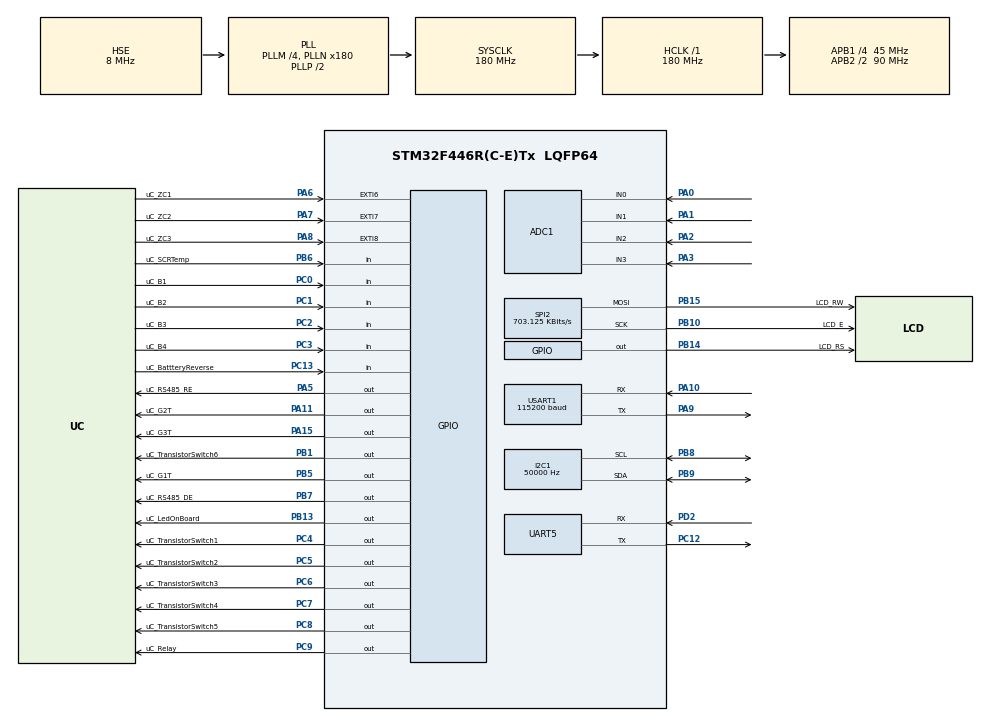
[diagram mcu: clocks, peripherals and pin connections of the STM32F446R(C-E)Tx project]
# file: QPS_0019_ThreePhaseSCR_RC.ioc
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ADC1.Channel-0\#ChannelRegularConversion=ADC_CHANNEL_0
ADC1.Channel-1\#ChannelRegularConversion=ADC_CHANNEL_1
ADC1.Channel-2\#ChannelRegularConversion=ADC_CHANNEL_2
ADC1.Channel-3\#ChannelRegularConversion=ADC_CHANNEL_3
ADC1.DMAContinuousRequests=ENABLE
ADC1.ExternalTrigConv=ADC_EXTERNALTRIGCONV_T2_TRGO
ADC1.NbrOfConversion=4
ADC1.NbrOfConversionFlag=1
ADC1.Rank-0\#ChannelRegularConversion=1
ADC1.Rank-1\#ChannelRegularConversion=2
ADC1.Rank-2\#ChannelRegularConversion=3
ADC1.Rank-3\#ChannelRegularConversion=4
ADC1.SamplingTime-0\#ChannelRegularConversion=ADC_SAMPLETIME_3CYCLES
ADC1.SamplingTime-1\#ChannelRegularConversion=ADC_SAMPLETIME_3CYCLES
ADC1.SamplingTime-2\#ChannelRegularConversion=ADC_SAMPLETIME_3CYCLES
ADC1.SamplingTime-3\#ChannelRegularConversion=ADC_SAMPLETIME_3CYCLES
ADC1.ScanConvMode=ENABLE
ADC1.master=1
Dma.ADC1.0.Direction=DMA_PERIPH_TO_MEMORY
Dma.ADC1.0.FIFOMode=DMA_FIFOMODE_DISABLE
Dma.ADC1.0.Instance=DMA2_Stream0
Dma.ADC1.0.MemDataAlignment=DMA_MDATAALIGN_HALFWORD
Dma.ADC1.0.MemInc=DMA_MINC_ENABLE
Dma.ADC1.0.Mode=DMA_CIRCULAR
Dma.ADC1.0.PeriphDataAlignment=DMA_PDATAALIGN_HALFWORD
Dma.ADC1.0.PeriphInc=DMA_PINC_DISABLE
Dma.ADC1.0.Priority=DMA_PRIORITY_LOW
Dma.Request0=ADC1
FREERTOS.INCLUDE_vTaskDelayUntil=1
FREERTOS.Tasks01=defaultTask,0,128,StartDefaultTask,Default,NULL,Dynamic,NULL,NULL;Task10ms,2,512,Task_10ms,Default,NULL,Dynamic,NULL,NULL;Task50ms,2,512,Task_50ms,Default,NULL,Dynamic,NULL,NULL;TaskStateMachin,2,512,Task_StateMachine,Default,NULL,Dynamic,NULL,NULL;TaskDisplay,2,512,Task_Display,Default,NULL,Dynamic,NULL,NULL
I2C1.ClockSpeed=50000
Mcu.Family=STM32F4
Mcu.Name=STM32F446R(C-E)Tx
Mcu.Package=LQFP64
NVIC.DMA2_Stream0_IRQn=true\:5\:0\:false\:false\:true\:true\:false\:true
NVIC.EXTI9_5_IRQn=true\:5\:0\:false\:false\:true\:true\:true\:true
NVIC.PriorityGroup=NVIC_PRIORITYGROUP_4
NVIC.TIM1_UP_TIM10_IRQn=true\:15\:0\:false\:false\:true\:false\:false\:true
NVIC.TIM3_IRQn=true\:5\:0\:false\:false\:true\:true\:true\:true
NVIC.TIM5_IRQn=true\:5\:0\:false\:false\:true\:true\:true\:true
NVIC.TIM6_DAC_IRQn=true\:5\:0\:false\:false\:true\:true\:true\:true
NVIC.TIM7_IRQn=true\:5\:0\:false\:false\:true\:true\:true\:true
NVIC.TimeBase=TIM1_UP_TIM10_IRQn
NVIC.TimeBaseIP=TIM1
PA0-WKUP.Signal=ADCx_IN0
PA1.Signal=ADCx_IN1
PA10.Mode=Asynchronous
PA10.Signal=USART1_RX
PA11.GPIO_Label=uC_G2T
PA11.GPIO_Speed=GPIO_SPEED_FREQ_HIGH
PA11.Signal=GPIO_Output
PA13.Mode=Serial_Wire
PA13.Signal=SYS_JTMS-SWDIO
PA14.Mode=Serial_Wire
PA14.Signal=SYS_JTCK-SWCLK
PA15.GPIO_Label=uC_G3T
PA15.GPIO_Speed=GPIO_SPEED_FREQ_HIGH
PA15.Signal=GPIO_Output
PA2.Signal=ADCx_IN2
PA3.Signal=ADCx_IN3
PA5.GPIO_Label=uC_RS485_RE
PA5.Signal=GPIO_Output
PA6.GPIO_Label=uC_ZC1
PA6.GPIO_ModeDefaultEXTI=GPIO_MODE_IT_FALLING
PA6.Signal=GPXTI6
PA7.GPIO_Label=uC_ZC2
PA7.GPIO_ModeDefaultEXTI=GPIO_MODE_IT_FALLING
PA7.Signal=GPXTI7
PA8.GPIO_Label=uC_ZC3
PA8.GPIO_ModeDefaultEXTI=GPIO_MODE_IT_FALLING
PA8.Signal=GPXTI8
PA9.Mode=Asynchronous
PA9.Signal=USART1_TX
PB1.GPIO_Label=uC_TransistorSwitch6
PB1.Signal=GPIO_Output
PB10.GPIO_Label=LCD_E
PB10.Mode=TX_Only_Simplex_Unidirect_Master
PB10.Signal=SPI2_SCK
PB13.GPIO_Label=uC_LedOnBoard
PB13.Signal=GPIO_Output
PB14.GPIO_Label=LCD_RS
PB14.GPIO_Speed=GPIO_SPEED_FREQ_HIGH
PB14.Signal=GPIO_Output
PB15.GPIO_Label=LCD_RW
PB15.Mode=TX_Only_Simplex_Unidirect_Master
PB15.Signal=SPI2_MOSI
PB5.GPIO_Label=uC_G1T
PB5.GPIO_Speed=GPIO_SPEED_FREQ_HIGH
PB5.Signal=GPIO_Output
PB6.GPIO_Label=uC_SCRTemp
PB6.Signal=GPIO_Input
PB7.GPIO_Label=uC_RS485_DE
PB7.Signal=GPIO_Output
PB8.Mode=I2C
PB8.Signal=I2C1_SCL
PB9.Mode=I2C
PB9.Signal=I2C1_SDA
PC0.GPIO_Label=uC_B1
PC0.Signal=GPIO_Input
PC1.GPIO_Label=uC_B2
PC1.Signal=GPIO_Input
PC12.Mode=Asynchronous
PC12.Signal=UART5_TX
PC13.GPIO_Label=uC_BattteryReverse
PC13.Signal=GPIO_Input
PC2.GPIO_Label=uC_B3
PC2.Signal=GPIO_Input
PC3.GPIO_Label=uC_B4
PC3.Signal=GPIO_Input
PC4.GPIO_Label=uC_TransistorSwitch1
PC4.Signal=GPIO_Output
PC5.GPIO_Label=uC_TransistorSwitch2
PC5.Signal=GPIO_Output
PC6.GPIO_Label=uC_TransistorSwitch3
PC6.Signal=GPIO_Output
PC7.GPIO_Label=uC_TransistorSwitch4
PC7.Signal=GPIO_Output
PC8.GPIO_Label=uC_TransistorSwitch5
PC8.Signal=GPIO_Output
PC9.GPIO_Label=uC_Relay
PC9.Signal=GPIO_Output
PD2.Mode=Asynchronous
PD2.Signal=UART5_RX
PH0-OSC_IN.Mode=HSE-External-Oscillator
PH0-OSC_IN.Signal=RCC_OSC_IN
PH1-OSC_OUT.Mode=HSE-External-Oscillator
PH1-OSC_OUT.Signal=RCC_OSC_OUT
ProjectManager.HeapSize=0x200
ProjectManager.StackSize=0x400
ProjectManager.TargetToolchain=STM32CubeIDE
RCC.AHBFreq_Value=180000000
RCC.APB1CLKDivider=RCC_HCLK_DIV4
RCC.APB1Freq_Value=45000000
RCC.APB1TimFreq_Value=90000000
RCC.APB2CLKDivider=RCC_HCLK_DIV2
RCC.APB2Freq_Value=90000000
RCC.APB2TimFreq_Value=180000000
RCC.CortexFreq_Value=180000000
RCC.HCLKFreq_Value=180000000
RCC.HSE_VALUE=8000000
RCC.PLLM=4
RCC.PLLN=180
RCC.PLLSourceVirtual=RCC_PLLSOURCE_HSE
RCC.SYSCLKFreq_VALUE=180000000
RCC.SYSCLKSource=RCC_SYSCLKSOURCE_PLLCLK
RCC.USBFreq_Value=180000000
RCC.VCOOutputFreq_Value=360000000
SH.ADCx_IN0.0=ADC1_IN0,IN0
SH.ADCx_IN1.0=ADC1_IN1,IN1
SH.ADCx_IN2.0=ADC1_IN2,IN2
SH.ADCx_IN3.0=ADC1_IN3,IN3
SPI2.BaudRatePrescaler=SPI_BAUDRATEPRESCALER_64
SPI2.CalculateBaudRate=703.125 KBits/s
SPI2.Direction=SPI_DIRECTION_2LINES
SPI2.Mode=SPI_MODE_MASTER
SPI2.VirtualType=VM_MASTER
TIM2.Period=2250
TIM2.Prescaler=3
TIM2.TIM_MasterOutputTrigger=TIM_TRGO_UPDATE
TIM3.Period=45000
TIM3.Prescaler=1
TIM4.Prescaler=79
TIM5.Prescaler=89
TIM6.Prescaler=89
TIM7.Prescaler=89
TIM8.Prescaler=179
UART5.VirtualMode=Asynchronous
USART1.BaudRate=115200
USART1.VirtualMode=VM_ASYNC
VP_FREERTOS_VS_CMSIS_V1.Mode=CMSIS_V1
VP_SYS_VS_tim1.Mode=TIM1
VP_TIM2_VS_ClockSourceINT.Mode=Internal
VP_TIM3_VS_ClockSourceINT.Mode=Internal
VP_TIM4_VS_ClockSourceINT.Mode=Internal
VP_TIM5_VS_ClockSourceINT.Mode=Internal
VP_TIM6_VS_ClockSourceINT.Mode=Enable_Timer
VP_TIM7_VS_ClockSourceINT.Mode=Enable_Timer
VP_TIM8_VS_ClockSourceINT.Mode=Internal
board=custom

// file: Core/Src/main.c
/* USER CODE BEGIN Header */
/**
  ******************************************************************************
  * @file           : main.c
  * @brief          : Main program body
  ******************************************************************************
  * @attention
  *
  * <h2><center>&copy; Copyright (c) 2022 STMicroelectronics.
  * All rights reserved.</center></h2>
  *
  * This software component is licensed by ST under BSD 3-Clause license,
  * the "License"; You may not use this file except in compliance with the
  * License. You may obtain a copy of the License at:
  *                        opensource.org/licenses/BSD-3-Clause
  *
  ******************************************************************************
  */
/* USER CODE END Header */
#include "main.h"
#include "cmsis_os.h"

/* USER CODE BEGIN Includes */
#include "keypress.h"
#include "appl_diag.h"
#include "stateMachine.h"
#include "display_state.h"
#include "eeprom.h"

/* USER CODE END Includes */

ADC_HandleTypeDef hadc1;
DMA_HandleTypeDef hdma_adc1;

I2C_HandleTypeDef hi2c1;

SPI_HandleTypeDef hspi2;

TIM_HandleTypeDef htim2;
TIM_HandleTypeDef htim3;
TIM_HandleTypeDef htim4;
TIM_HandleTypeDef htim5;
TIM_HandleTypeDef htim6;
TIM_HandleTypeDef htim7;
TIM_HandleTypeDef htim8;

UART_HandleTypeDef huart5;
UART_HandleTypeDef huart1;

osThreadId defaultTaskHandle;
osThreadId Task10msHandle;
osThreadId Task50msHandle;
osThreadId TaskStateMachinHandle;
osThreadId TaskDisplayHandle;
/* USER CODE BEGIN PV */
uint32_t ApplDbg_Task10ms_RunCounter = 0;
uint32_t ApplDbg_Task50ms_RunCounter = 0;
uint32_t ApplDbg_TaskSCRTrigger_RunCounter = 0;
uint32_t ApplDbg_TaskDisplay_RunCounter = 0;

/* USER CODE END PV */

void SystemClock_Config(void);
static void MX_GPIO_Init(void);
static void MX_DMA_Init(void);
static void MX_ADC1_Init(void);
static void MX_I2C1_Init(void);
static void MX_SPI2_Init(void);
static void MX_TIM2_Init(void);
static void MX_TIM3_Init(void);
static void MX_TIM4_Init(void);
static void MX_TIM5_Init(void);
static void MX_TIM8_Init(void);
static void MX_USART1_UART_Init(void);
static void MX_TIM6_Init(void);
static void MX_TIM7_Init(void);
static void MX_UART5_Init(void);
void StartDefaultTask(void const * argument);
void Task_10ms(void const * argument);
void Task_50ms(void const * argument);
void Task_StateMachine(void const * argument);
void Task_Display(void const * argument);

int main(void)
{

  /* MCU Configuration--------------------------------------------------------*/

  /* Reset of all peripherals, Initializes the Flash interface and the Systick. */
  HAL_Init();

  /* Configure the system clock */
  SystemClock_Config();

  /* Initialize all configured peripherals */
  MX_GPIO_Init();
  MX_DMA_Init();
  MX_ADC1_Init();
  MX_I2C1_Init();
  MX_SPI2_Init();
  MX_TIM2_Init();
  MX_TIM3_Init();
  MX_TIM4_Init();
  MX_TIM5_Init();
  MX_TIM8_Init();
  MX_USART1_UART_Init();
  MX_TIM6_Init();
  MX_TIM7_Init();
  MX_UART5_Init();
  /* USER CODE BEGIN 2 */
  SM_ECUInit();
  /* USER CODE END 2 */

  /* Create the thread(s) */
  /* definition and creation of defaultTask */
  osThreadDef(defaultTask, StartDefaultTask, osPriorityNormal, 0, 128);
  defaultTaskHandle = osThreadCreate(osThread(defaultTask), NULL);

  /* definition and creation of Task10ms */
  osThreadDef(Task10ms, Task_10ms, osPriorityHigh, 0, 512);
  Task10msHandle = osThreadCreate(osThread(Task10ms), NULL);

  /* definition and creation of Task50ms */
  osThreadDef(Task50ms, Task_50ms, osPriorityHigh, 0, 512);
  Task50msHandle = osThreadCreate(osThread(Task50ms), NULL);

  /* definition and creation of TaskStateMachin */
  osThreadDef(TaskStateMachin, Task_StateMachine, osPriorityHigh, 0, 512);
  TaskStateMachinHandle = osThreadCreate(osThread(TaskStateMachin), NULL);

  /* definition and creation of TaskDisplay */
  osThreadDef(TaskDisplay, Task_Display, osPriorityHigh, 0, 512);
  TaskDisplayHandle = osThreadCreate(osThread(TaskDisplay), NULL);

  /* Start scheduler */
  osKernelStart();

  /* We should never get here as control is now taken by the scheduler */
  /* Infinite loop */
  while (1)
  {

  }
}

void SystemClock_Config(void)
{
  RCC_OscInitTypeDef RCC_OscInitStruct = {0};
  RCC_ClkInitTypeDef RCC_ClkInitStruct = {0};

  /** Configure the main internal regulator output voltage
  */
  __HAL_RCC_PWR_CLK_ENABLE();
  __HAL_PWR_VOLTAGESCALING_CONFIG(PWR_REGULATOR_VOLTAGE_SCALE1);
  /** Initializes the RCC Oscillators according to the specified parameters
  * in the RCC_OscInitTypeDef structure.
  */
  RCC_OscInitStruct.OscillatorType = RCC_OSCILLATORTYPE_HSE;
  RCC_OscInitStruct.HSEState = RCC_HSE_ON;
  RCC_OscInitStruct.PLL.PLLState = RCC_PLL_ON;
  RCC_OscInitStruct.PLL.PLLSource = RCC_PLLSOURCE_HSE;
  RCC_OscInitStruct.PLL.PLLM = 4;
  RCC_OscInitStruct.PLL.PLLN = 180;
  RCC_OscInitStruct.PLL.PLLP = RCC_PLLP_DIV2;
  RCC_OscInitStruct.PLL.PLLQ = 2;
  RCC_OscInitStruct.PLL.PLLR = 2;
  if (HAL_RCC_OscConfig(&RCC_OscInitStruct) != HAL_OK)
  {
    Error_Handler();
  }
  /** Activate the Over-Drive mode
  */
  if (HAL_PWREx_EnableOverDrive() != HAL_OK)
  {
    Error_Handler();
  }
  /** Initializes the CPU, AHB and APB buses clocks
  */
  RCC_ClkInitStruct.ClockType = RCC_CLOCKTYPE_HCLK|RCC_CLOCKTYPE_SYSCLK
                              |RCC_CLOCKTYPE_PCLK1|RCC_CLOCKTYPE_PCLK2;
  RCC_ClkInitStruct.SYSCLKSource = RCC_SYSCLKSOURCE_PLLCLK;
  RCC_ClkInitStruct.AHBCLKDivider = RCC_SYSCLK_DIV1;
  RCC_ClkInitStruct.APB1CLKDivider = RCC_HCLK_DIV4;
  RCC_ClkInitStruct.APB2CLKDivider = RCC_HCLK_DIV2;

  if (HAL_RCC_ClockConfig(&RCC_ClkInitStruct, FLASH_LATENCY_5) != HAL_OK)
  {
    Error_Handler();
  }
}

static void MX_ADC1_Init(void)
{

  ADC_ChannelConfTypeDef sConfig = {0};

  /** Configure the global features of the ADC (Clock, Resolution, Data Alignment and number of conversion)
  */
  hadc1.Instance = ADC1;
  hadc1.Init.ClockPrescaler = ADC_CLOCK_SYNC_PCLK_DIV4;
  hadc1.Init.Resolution = ADC_RESOLUTION_12B;
  hadc1.Init.ScanConvMode = ENABLE;
  hadc1.Init.ContinuousConvMode = DISABLE;
  hadc1.Init.DiscontinuousConvMode = DISABLE;
  hadc1.Init.ExternalTrigConvEdge = ADC_EXTERNALTRIGCONVEDGE_RISING;
  hadc1.Init.ExternalTrigConv = ADC_EXTERNALTRIGCONV_T2_TRGO;
  hadc1.Init.DataAlign = ADC_DATAALIGN_RIGHT;
  hadc1.Init.NbrOfConversion = 4;
  hadc1.Init.DMAContinuousRequests = ENABLE;
  hadc1.Init.EOCSelection = ADC_EOC_SINGLE_CONV;
  if (HAL_ADC_Init(&hadc1) != HAL_OK)
  {
    Error_Handler();
  }
  /** Configure for the selected ADC regular channel its corresponding rank in the sequencer and its sample time.
  */
  sConfig.Channel = ADC_CHANNEL_0;
  sConfig.Rank = 1;
  sConfig.SamplingTime = ADC_SAMPLETIME_3CYCLES;
  if (HAL_ADC_ConfigChannel(&hadc1, &sConfig) != HAL_OK)
  {
    Error_Handler();
  }
  /** Configure for the selected ADC regular channel its corresponding rank in the sequencer and its sample time.
  */
  sConfig.Channel = ADC_CHANNEL_1;
  sConfig.Rank = 2;
  sConfig.SamplingTime = ADC_SAMPLETIME_15CYCLES;
  if (HAL_ADC_ConfigChannel(&hadc1, &sConfig) != HAL_OK)
  {
    Error_Handler();
  }
  /** Configure for the selected ADC regular channel its corresponding rank in the sequencer and its sample time.
  */
  sConfig.Channel = ADC_CHANNEL_2;
  sConfig.Rank = 3;
  if (HAL_ADC_ConfigChannel(&hadc1, &sConfig) != HAL_OK)
  {
    Error_Handler();
  }
  /** Configure for the selected ADC regular channel its corresponding rank in the sequencer and its sample time.
  */
  sConfig.Channel = ADC_CHANNEL_3;
  sConfig.Rank = 4;
  if (HAL_ADC_ConfigChannel(&hadc1, &sConfig) != HAL_OK)
  {
    Error_Handler();
  }

}

static void MX_I2C1_Init(void)
{

  hi2c1.Instance = I2C1;
  hi2c1.Init.ClockSpeed = 50000;
  hi2c1.Init.DutyCycle = I2C_DUTYCYCLE_2;
  hi2c1.Init.OwnAddress1 = 0;
  hi2c1.Init.AddressingMode = I2C_ADDRESSINGMODE_7BIT;
  hi2c1.Init.DualAddressMode = I2C_DUALADDRESS_DISABLE;
  hi2c1.Init.OwnAddress2 = 0;
  hi2c1.Init.GeneralCallMode = I2C_GENERALCALL_DISABLE;
  hi2c1.Init.NoStretchMode = I2C_NOSTRETCH_DISABLE;
  if (HAL_I2C_Init(&hi2c1) != HAL_OK)
  {
    Error_Handler();
  }

}

static void MX_SPI2_Init(void)
{

  /* SPI2 parameter configuration*/
  hspi2.Instance = SPI2;
  hspi2.Init.Mode = SPI_MODE_MASTER;
  hspi2.Init.Direction = SPI_DIRECTION_2LINES;
  hspi2.Init.DataSize = SPI_DATASIZE_8BIT;
  hspi2.Init.CLKPolarity = SPI_POLARITY_LOW;
  hspi2.Init.CLKPhase = SPI_PHASE_1EDGE;
  hspi2.Init.NSS = SPI_NSS_SOFT;
  hspi2.Init.BaudRatePrescaler = SPI_BAUDRATEPRESCALER_64;
  hspi2.Init.FirstBit = SPI_FIRSTBIT_MSB;
  hspi2.Init.TIMode = SPI_TIMODE_DISABLE;
  hspi2.Init.CRCCalculation = SPI_CRCCALCULATION_DISABLE;
  hspi2.Init.CRCPolynomial = 10;
  if (HAL_SPI_Init(&hspi2) != HAL_OK)
  {
    Error_Handler();
  }

}

static void MX_TIM2_Init(void)
{

  TIM_ClockConfigTypeDef sClockSourceConfig = {0};
  TIM_MasterConfigTypeDef sMasterConfig = {0};

  htim2.Instance = TIM2;
  htim2.Init.Prescaler = 3;
  htim2.Init.CounterMode = TIM_COUNTERMODE_UP;
  htim2.Init.Period = 2250;
  htim2.Init.ClockDivision = TIM_CLOCKDIVISION_DIV1;
  htim2.Init.AutoReloadPreload = TIM_AUTORELOAD_PRELOAD_DISABLE;
  if (HAL_TIM_Base_Init(&htim2) != HAL_OK)
  {
    Error_Handler();
  }
  sClockSourceConfig.ClockSource = TIM_CLOCKSOURCE_INTERNAL;
  if (HAL_TIM_ConfigClockSource(&htim2, &sClockSourceConfig) != HAL_OK)
  {
    Error_Handler();
  }
  sMasterConfig.MasterOutputTrigger = TIM_TRGO_UPDATE;
  sMasterConfig.MasterSlaveMode = TIM_MASTERSLAVEMODE_DISABLE;
  if (HAL_TIMEx_MasterConfigSynchronization(&htim2, &sMasterConfig) != HAL_OK)
  {
    Error_Handler();
  }

}

static void MX_TIM3_Init(void)
{

  TIM_ClockConfigTypeDef sClockSourceConfig = {0};
  TIM_MasterConfigTypeDef sMasterConfig = {0};

  htim3.Instance = TIM3;
  htim3.Init.Prescaler = 1;
  htim3.Init.CounterMode = TIM_COUNTERMODE_UP;
  htim3.Init.Period = 45000;
  htim3.Init.ClockDivision = TIM_CLOCKDIVISION_DIV1;
  htim3.Init.AutoReloadPreload = TIM_AUTORELOAD_PRELOAD_DISABLE;
  if (HAL_TIM_Base_Init(&htim3) != HAL_OK)
  {
    Error_Handler();
  }
  sClockSourceConfig.ClockSource = TIM_CLOCKSOURCE_INTERNAL;
  if (HAL_TIM_ConfigClockSource(&htim3, &sClockSourceConfig) != HAL_OK)
  {
    Error_Handler();
  }
  sMasterConfig.MasterOutputTrigger = TIM_TRGO_RESET;
  sMasterConfig.MasterSlaveMode = TIM_MASTERSLAVEMODE_DISABLE;
  if (HAL_TIMEx_MasterConfigSynchronization(&htim3, &sMasterConfig) != HAL_OK)
  {
    Error_Handler();
  }

}

static void MX_TIM4_Init(void)
{

  TIM_ClockConfigTypeDef sClockSourceConfig = {0};
  TIM_MasterConfigTypeDef sMasterConfig = {0};

  htim4.Instance = TIM4;
  htim4.Init.Prescaler = 79;
  htim4.Init.CounterMode = TIM_COUNTERMODE_UP;
  htim4.Init.Period = 65535;
  htim4.Init.ClockDivision = TIM_CLOCKDIVISION_DIV1;
  htim4.Init.AutoReloadPreload = TIM_AUTORELOAD_PRELOAD_DISABLE;
  if (HAL_TIM_Base_Init(&htim4) != HAL_OK)
  {
    Error_Handler();
  }
  sClockSourceConfig.ClockSource = TIM_CLOCKSOURCE_INTERNAL;
  if (HAL_TIM_ConfigClockSource(&htim4, &sClockSourceConfig) != HAL_OK)
  {
    Error_Handler();
  }
  sMasterConfig.MasterOutputTrigger = TIM_TRGO_RESET;
  sMasterConfig.MasterSlaveMode = TIM_MASTERSLAVEMODE_DISABLE;
  if (HAL_TIMEx_MasterConfigSynchronization(&htim4, &sMasterConfig) != HAL_OK)
  {
    Error_Handler();
  }

}

static void MX_TIM5_Init(void)
{

  TIM_ClockConfigTypeDef sClockSourceConfig = {0};
  TIM_MasterConfigTypeDef sMasterConfig = {0};

  htim5.Instance = TIM5;
  htim5.Init.Prescaler = 89;
  htim5.Init.CounterMode = TIM_COUNTERMODE_UP;
  htim5.Init.Period = 4294967295;
  htim5.Init.ClockDivision = TIM_CLOCKDIVISION_DIV1;
  htim5.Init.AutoReloadPreload = TIM_AUTORELOAD_PRELOAD_DISABLE;
  if (HAL_TIM_Base_Init(&htim5) != HAL_OK)
  {
    Error_Handler();
  }
  sClockSourceConfig.ClockSource = TIM_CLOCKSOURCE_INTERNAL;
  if (HAL_TIM_ConfigClockSource(&htim5, &sClockSourceConfig) != HAL_OK)
  {
    Error_Handler();
  }
  sMasterConfig.MasterOutputTrigger = TIM_TRGO_RESET;
  sMasterConfig.MasterSlaveMode = TIM_MASTERSLAVEMODE_DISABLE;
  if (HAL_TIMEx_MasterConfigSynchronization(&htim5, &sMasterConfig) != HAL_OK)
  {
    Error_Handler();
  }

}

static void MX_TIM6_Init(void)
{

  TIM_MasterConfigTypeDef sMasterConfig = {0};

  htim6.Instance = TIM6;
  htim6.Init.Prescaler = 89;
  htim6.Init.CounterMode = TIM_COUNTERMODE_UP;
  htim6.Init.Period = 65535;
  htim6.Init.AutoReloadPreload = TIM_AUTORELOAD_PRELOAD_DISABLE;
  if (HAL_TIM_Base_Init(&htim6) != HAL_OK)
  {
    Error_Handler();
  }
  sMasterConfig.MasterOutputTrigger = TIM_TRGO_RESET;
  sMasterConfig.MasterSlaveMode = TIM_MASTERSLAVEMODE_DISABLE;
  if (HAL_TIMEx_MasterConfigSynchronization(&htim6, &sMasterConfig) != HAL_OK)
  {
    Error_Handler();
  }

}

static void MX_TIM7_Init(void)
{

  TIM_MasterConfigTypeDef sMasterConfig = {0};

  htim7.Instance = TIM7;
  htim7.Init.Prescaler = 89;
  htim7.Init.CounterMode = TIM_COUNTERMODE_UP;
  htim7.Init.Period = 65535;
  htim7.Init.AutoReloadPreload = TIM_AUTORELOAD_PRELOAD_DISABLE;
  if (HAL_TIM_Base_Init(&htim7) != HAL_OK)
  {
    Error_Handler();
  }
  sMasterConfig.MasterOutputTrigger = TIM_TRGO_RESET;
  sMasterConfig.MasterSlaveMode = TIM_MASTERSLAVEMODE_DISABLE;
  if (HAL_TIMEx_MasterConfigSynchronization(&htim7, &sMasterConfig) != HAL_OK)
  {
    Error_Handler();
  }

}

static void MX_TIM8_Init(void)
{

  TIM_ClockConfigTypeDef sClockSourceConfig = {0};
  TIM_MasterConfigTypeDef sMasterConfig = {0};

  htim8.Instance = TIM8;
  htim8.Init.Prescaler = 179;
  htim8.Init.CounterMode = TIM_COUNTERMODE_UP;
  htim8.Init.Period = 65535;
  htim8.Init.ClockDivision = TIM_CLOCKDIVISION_DIV1;
  htim8.Init.RepetitionCounter = 0;
  htim8.Init.AutoReloadPreload = TIM_AUTORELOAD_PRELOAD_DISABLE;
  if (HAL_TIM_Base_Init(&htim8) != HAL_OK)
  {
    Error_Handler();
  }
  sClockSourceConfig.ClockSource = TIM_CLOCKSOURCE_INTERNAL;
  if (HAL_TIM_ConfigClockSource(&htim8, &sClockSourceConfig) != HAL_OK)
  {
    Error_Handler();
  }
  sMasterConfig.MasterOutputTrigger = TIM_TRGO_RESET;
  sMasterConfig.MasterSlaveMode = TIM_MASTERSLAVEMODE_DISABLE;
  if (HAL_TIMEx_MasterConfigSynchronization(&htim8, &sMasterConfig) != HAL_OK)
  {
    Error_Handler();
  }

}

static void MX_UART5_Init(void)
{

  huart5.Instance = UART5;
  huart5.Init.BaudRate = 115200;
  huart5.Init.WordLength = UART_WORDLENGTH_8B;
  huart5.Init.StopBits = UART_STOPBITS_1;
  huart5.Init.Parity = UART_PARITY_NONE;
  huart5.Init.Mode = UART_MODE_TX_RX;
  huart5.Init.HwFlowCtl = UART_HWCONTROL_NONE;
  huart5.Init.OverSampling = UART_OVERSAMPLING_16;
  if (HAL_UART_Init(&huart5) != HAL_OK)
  {
    Error_Handler();
  }

}

static void MX_USART1_UART_Init(void)
{

  huart1.Instance = USART1;
  huart1.Init.BaudRate = 115200;
  huart1.Init.WordLength = UART_WORDLENGTH_8B;
  huart1.Init.StopBits = UART_STOPBITS_1;
  huart1.Init.Parity = UART_PARITY_NONE;
  huart1.Init.Mode = UART_MODE_TX_RX;
  huart1.Init.HwFlowCtl = UART_HWCONTROL_NONE;
  huart1.Init.OverSampling = UART_OVERSAMPLING_16;
  if (HAL_UART_Init(&huart1) != HAL_OK)
  {
    Error_Handler();
  }

}

static void MX_DMA_Init(void)
{

  /* DMA controller clock enable */
  __HAL_RCC_DMA2_CLK_ENABLE();

  /* DMA interrupt init */
  /* DMA2_Stream0_IRQn interrupt configuration */
  HAL_NVIC_SetPriority(DMA2_Stream0_IRQn, 5, 0);
  HAL_NVIC_EnableIRQ(DMA2_Stream0_IRQn);

}

static void MX_GPIO_Init(void)
{
  GPIO_InitTypeDef GPIO_InitStruct = {0};

  /* GPIO Ports Clock Enable */
  __HAL_RCC_GPIOC_CLK_ENABLE();
  __HAL_RCC_GPIOH_CLK_ENABLE();
  __HAL_RCC_GPIOA_CLK_ENABLE();
  __HAL_RCC_GPIOB_CLK_ENABLE();
  __HAL_RCC_GPIOD_CLK_ENABLE();

  /*Configure GPIO pin Output Level */
  HAL_GPIO_WritePin(GPIOA, uC_RS485_RE_Pin|uC_G2T_Pin|uC_G3T_Pin, GPIO_PIN_RESET);

  /*Configure GPIO pin Output Level */
  HAL_GPIO_WritePin(GPIOC, uC_TransistorSwitch1_Pin|uC_TransistorSwitch2_Pin|uC_TransistorSwitch3_Pin|uC_TransistorSwitch4_Pin
                          |uC_TransistorSwitch5_Pin|uC_Relay_Pin, GPIO_PIN_RESET);

  /*Configure GPIO pin Output Level */
  HAL_GPIO_WritePin(GPIOB, uC_TransistorSwitch6_Pin|uC_LedOnBoard_Pin|LCD_RS_Pin|uC_G1T_Pin
                          |uC_RS485_DE_Pin, GPIO_PIN_RESET);

  /*Configure GPIO pins : uC_BattteryReverse_Pin uC_B1_Pin uC_B2_Pin uC_B3_Pin
                           uC_B4_Pin */
  GPIO_InitStruct.Pin = uC_BattteryReverse_Pin|uC_B1_Pin|uC_B2_Pin|uC_B3_Pin
                          |uC_B4_Pin;
  GPIO_InitStruct.Mode = GPIO_MODE_INPUT;
  GPIO_InitStruct.Pull = GPIO_NOPULL;
  HAL_GPIO_Init(GPIOC, &GPIO_InitStruct);

  /*Configure GPIO pin : uC_RS485_RE_Pin */
  GPIO_InitStruct.Pin = uC_RS485_RE_Pin;
  GPIO_InitStruct.Mode = GPIO_MODE_OUTPUT_PP;
  GPIO_InitStruct.Pull = GPIO_NOPULL;
  GPIO_InitStruct.Speed = GPIO_SPEED_FREQ_LOW;
  HAL_GPIO_Init(uC_RS485_RE_GPIO_Port, &GPIO_InitStruct);

  /*Configure GPIO pins : uC_ZC1_Pin uC_ZC2_Pin uC_ZC3_Pin */
  GPIO_InitStruct.Pin = uC_ZC1_Pin|uC_ZC2_Pin|uC_ZC3_Pin;
  GPIO_InitStruct.Mode = GPIO_MODE_IT_FALLING;
  GPIO_InitStruct.Pull = GPIO_NOPULL;
  HAL_GPIO_Init(GPIOA, &GPIO_InitStruct);

  /*Configure GPIO pins : uC_TransistorSwitch1_Pin uC_TransistorSwitch2_Pin uC_TransistorSwitch3_Pin uC_TransistorSwitch4_Pin
                           uC_TransistorSwitch5_Pin uC_Relay_Pin */
  GPIO_InitStruct.Pin = uC_TransistorSwitch1_Pin|uC_TransistorSwitch2_Pin|uC_TransistorSwitch3_Pin|uC_TransistorSwitch4_Pin
                          |uC_TransistorSwitch5_Pin|uC_Relay_Pin;
  GPIO_InitStruct.Mode = GPIO_MODE_OUTPUT_PP;
  GPIO_InitStruct.Pull = GPIO_NOPULL;
  GPIO_InitStruct.Speed = GPIO_SPEED_FREQ_LOW;
  HAL_GPIO_Init(GPIOC, &GPIO_InitStruct);

  /*Configure GPIO pins : uC_TransistorSwitch6_Pin uC_LedOnBoard_Pin uC_RS485_DE_Pin */
  GPIO_InitStruct.Pin = uC_TransistorSwitch6_Pin|uC_LedOnBoard_Pin|uC_RS485_DE_Pin;
  GPIO_InitStruct.Mode = GPIO_MODE_OUTPUT_PP;
  GPIO_InitStruct.Pull = GPIO_NOPULL;
  GPIO_InitStruct.Speed = GPIO_SPEED_FREQ_LOW;
  HAL_GPIO_Init(GPIOB, &GPIO_InitStruct);

  /*Configure GPIO pins : LCD_RS_Pin uC_G1T_Pin */
  GPIO_InitStruct.Pin = LCD_RS_Pin|uC_G1T_Pin;
  GPIO_InitStruct.Mode = GPIO_MODE_OUTPUT_PP;
  GPIO_InitStruct.Pull = GPIO_NOPULL;
  GPIO_InitStruct.Speed = GPIO_SPEED_FREQ_HIGH;
  HAL_GPIO_Init(GPIOB, &GPIO_InitStruct);

  /*Configure GPIO pins : uC_G2T_Pin uC_G3T_Pin */
  GPIO_InitStruct.Pin = uC_G2T_Pin|uC_G3T_Pin;
  GPIO_InitStruct.Mode = GPIO_MODE_OUTPUT_PP;
  GPIO_InitStruct.Pull = GPIO_NOPULL;
  GPIO_InitStruct.Speed = GPIO_SPEED_FREQ_HIGH;
  HAL_GPIO_Init(GPIOA, &GPIO_InitStruct);

  /*Configure GPIO pin : uC_SCRTemp_Pin */
  GPIO_InitStruct.Pin = uC_SCRTemp_Pin;
  GPIO_InitStruct.Mode = GPIO_MODE_INPUT;
  GPIO_InitStruct.Pull = GPIO_PULLDOWN;
  HAL_GPIO_Init(uC_SCRTemp_GPIO_Port, &GPIO_InitStruct);

  /* EXTI interrupt init*/
  HAL_NVIC_SetPriority(EXTI9_5_IRQn, 5, 0);
  HAL_NVIC_EnableIRQ(EXTI9_5_IRQn);

}

void StartDefaultTask(void const * argument)
{
  /* USER CODE BEGIN 5 */
	static uint32_t ApplDbg_Task10ms_RunCounter_old = 0;
	static uint32_t ApplDbg_Task50ms_RunCounter_old = 0;
	static uint32_t ApplDbg_TaskSCRTrigger_RunCounter_old = 0;
	static uint32_t ApplDbg_TaskDisplay_RunCounter_old = 0;
  /* Infinite loop */
  for(;;)
  {
	  if(ApplDbg_TaskDisplay_RunCounter!=ApplDbg_TaskDisplay_RunCounter_old){
		  ApplDbg_TaskDisplay_RunCounter_old = ApplDbg_TaskDisplay_RunCounter;
		  if((ApplDbg_Task10ms_RunCounter_old != ApplDbg_Task10ms_RunCounter) && \
				  (ApplDbg_Task50ms_RunCounter_old != ApplDbg_Task50ms_RunCounter) && \
				  (ApplDbg_TaskSCRTrigger_RunCounter_old != ApplDbg_TaskSCRTrigger_RunCounter)){
			  ApplDbg_TaskSCRTrigger_RunCounter_old = ApplDbg_TaskSCRTrigger_RunCounter;
			  ApplDbg_Task50ms_RunCounter_old = ApplDbg_Task50ms_RunCounter;
			  ApplDbg_Task10ms_RunCounter_old = ApplDbg_Task10ms_RunCounter;
			  ONBOARDLED_TOGGLE();
		  }
	  }
//    osDelay(1);
  }
  /* USER CODE END 5 */
}

void Task_10ms(void const * argument)
{
  /* USER CODE BEGIN Task_10ms */
	static uint32_t FnclocalDbg_Task10ms_RunCounter = 0;
	static TickType_t Task_10ms_pxPreviousWakeTime;
  /* Infinite loop */
  for(;;)
  {
	  SM_10msTask();
		FnclocalDbg_Task10ms_RunCounter++;
		if(FnclocalDbg_Task10ms_RunCounter>=100){
			FnclocalDbg_Task10ms_RunCounter = 0;
			ApplDbg_Task10ms_RunCounter++;
		}
		vTaskDelayUntil(&Task_10ms_pxPreviousWakeTime, 10);
  }
  /* USER CODE END Task_10ms */
}

void Task_50ms(void const * argument)
{
  /* USER CODE BEGIN Task_50ms */
static uint32_t FnclocalDbg_Task50ms_RunCounter = 0;
static TickType_t Task_50ms_pxPreviousWakeTime;
  /* Infinite loop */
  for(;;)
  {
	  RunDiagnostics();
	  FnclocalDbg_Task50ms_RunCounter++;
	  if(FnclocalDbg_Task50ms_RunCounter>=20){
		  FnclocalDbg_Task50ms_RunCounter = 0;
		  ApplDbg_Task50ms_RunCounter++;
	  }
	  vTaskDelayUntil(&Task_50ms_pxPreviousWakeTime, 50);
  }
  /* USER CODE END Task_50ms */
}

void Task_StateMachine(void const * argument)
{
  /* USER CODE BEGIN Task_StateMachine */
static uint32_t FnclocalDbg_TaskSCRTrigger_RunCounter = 0;
static TickType_t Task_SCRTrigger_pxPreviousWakeTime;
uint8_t loopms = 50;
  /* Infinite loop */
  for(;;)
  {
	  loopms = 50;
	  CommandLoop(loopms);
	  SM_StateMachineHandler(loopms);
	  FnclocalDbg_TaskSCRTrigger_RunCounter++;
	  if(FnclocalDbg_TaskSCRTrigger_RunCounter>=(1000/loopms)){
		  FnclocalDbg_TaskSCRTrigger_RunCounter = 0;
		  ApplDbg_TaskSCRTrigger_RunCounter++;
	  }
	  vTaskDelayUntil(&Task_SCRTrigger_pxPreviousWakeTime, loopms);
  }
  /* USER CODE END Task_StateMachine */
}

void Task_Display(void const * argument)
{
  /* USER CODE BEGIN Task_Display */
	static uint32_t FnclocalDbg_TaskDisplay_RunCounter = 0;
	static TickType_t xLastWakeTime;
	uint8_t lopspeedms = 250;
  /* Infinite loop */
  for(;;)
  {
	  DisplayLoop(lopspeedms);
//	  vishwaModbusLoop();
	  SerialCommunication(lopspeedms);
	  FnclocalDbg_TaskDisplay_RunCounter++;
	  if(FnclocalDbg_TaskDisplay_RunCounter>=(1000/lopspeedms)){
		  FnclocalDbg_TaskDisplay_RunCounter = 0;
		  ApplDbg_TaskDisplay_RunCounter++;
	  }
	    vTaskDelayUntil(&xLastWakeTime, pdMS_TO_TICKS(lopspeedms));
  }
  /* USER CODE END Task_Display */
}

void HAL_TIM_PeriodElapsedCallback(TIM_HandleTypeDef *htim)
{
  if (htim->Instance == TIM1) {
    HAL_IncTick();
  }
}

void Error_Handler(void)
{
  __disable_irq();
  while (1)
  {
  }
}

/************************ (C) COPYRIGHT STMicroelectronics *****END OF FILE****/
